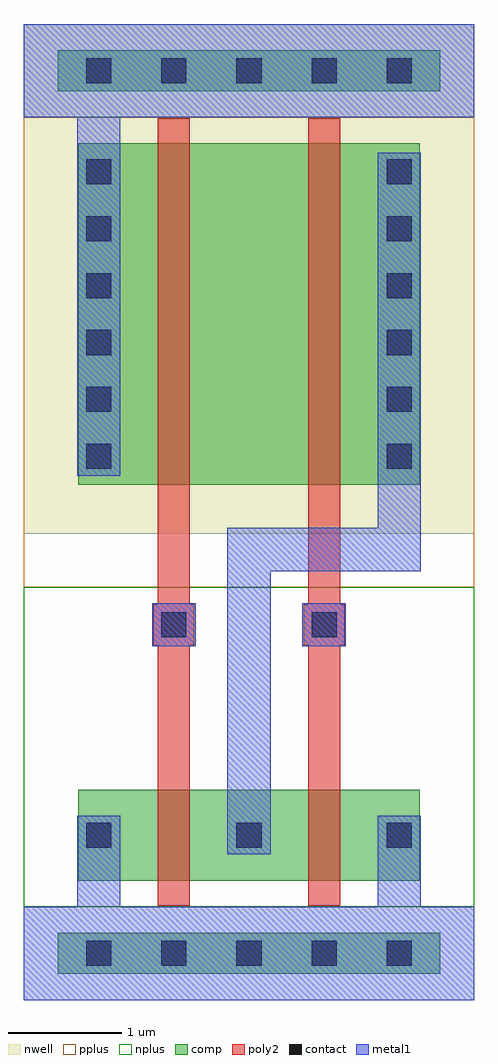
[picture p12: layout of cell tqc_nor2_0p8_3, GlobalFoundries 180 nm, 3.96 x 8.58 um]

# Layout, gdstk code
import gdstk
lib = gdstk.Library(unit=1e-6, precision=1e-09)
def R(c, l, rs):  # rectangles x0, y0, x1, y1
    for r in rs: c.add(gdstk.rectangle(r[:2], r[2:], *l))
def A(c, l, x, y, w, h, nx, ny, dx, dy):  # array of equal rectangles
    R(c, l, [(x+i*dx, y+j*dy, x+i*dx+w, y+j*dy+h) for i in range(nx) for j in range(ny)])
nwell = (21, 0)
comp = (22, 0)
poly2 = (30, 0)
pplus = (31, 0)
nplus = (32, 0)
contact = (33, 0)
metal1 = (34, 0)

tqc_nor2_0p8_3 = lib.new_cell('tqc_nor2_0p8_3')
R(tqc_nor2_0p8_3, nwell, [(0,4.1,3.96,8.58)])
R(tqc_nor2_0p8_3, comp, [(0.3,0.23,3.66,0.59), (0.48,1.05,3.48,1.85), (0.48,4.53,3.48,7.53), (0.3,7.99,3.66,8.35)])
R(tqc_nor2_0p8_3, poly2, [(1.18,0.83,1.46,7.75), (2.5,0.83,2.78,7.75), (1.14,3.12,1.5,3.48), (2.46,3.12,2.82,3.48)])
R(tqc_nor2_0p8_3, pplus, [(0,0,3.96,0.82), (0,3.63,3.96,7.76)])
R(tqc_nor2_0p8_3, nplus, [(0,0.82,3.96,3.63), (0,7.76,3.96,8.58)])
A(tqc_nor2_0p8_3, contact, 0.55, 0.3, 0.22, 0.22, 5, 2, 0.66, 7.76)
A(tqc_nor2_0p8_3, contact, 0.55, 1.34, 0.22, 0.22, 3, 1, 1.32, 0)
A(tqc_nor2_0p8_3, contact, 0.55, 4.67, 0.22, 0.22, 1, 6, 0, 0.5)
A(tqc_nor2_0p8_3, contact, 3.19, 4.67, 0.22, 0.22, 1, 6, 0, 0.5)
R(tqc_nor2_0p8_3, contact, [(1.21,3.19,1.43,3.41), (2.53,3.19,2.75,3.41)])
R(tqc_nor2_0p8_3, metal1, [(0,0,3.96,0.82), (0.47,0,0.85,1.62), (3.11,0,3.49,1.62), (1.79,1.28,2.17,1.62), (1.79,1.52,2.17,4.15), (1.13,3.11,1.51,3.49), (2.45,3.11,2.83,3.49), (1.79,3.77,3.49,4.15), (3.11,3.77,3.49,4.71), (0.47,4.61,0.85,8.58), (3.11,4.61,3.49,7.45), (0,7.76,3.96,8.58)])

lib.write_gds('tqc_nor2_0p8_3.gds')
